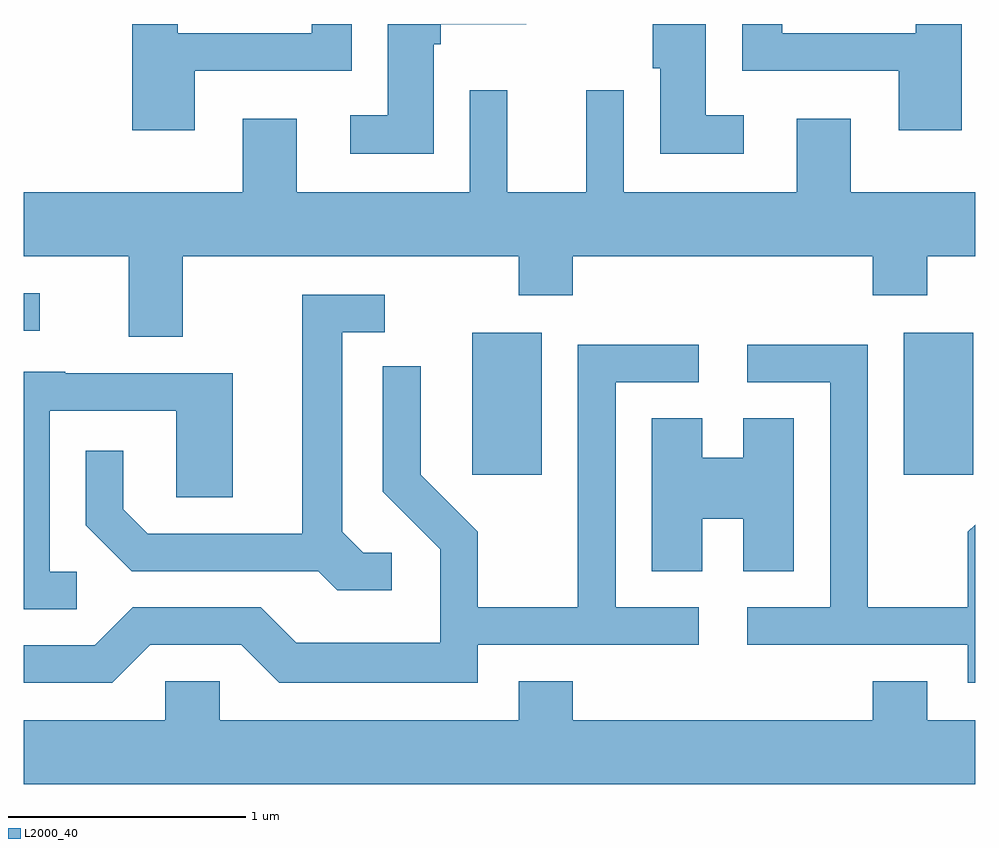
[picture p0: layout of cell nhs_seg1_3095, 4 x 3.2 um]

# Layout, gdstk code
import gdstk
lib = gdstk.Library(unit=1e-6, precision=1e-09)
def R(c, l, rs):  # rectangles x0, y0, x1, y1
    for r in rs: c.add(gdstk.rectangle(r[:2], r[2:], *l))
def P(c, l, *ps):  # polygons
    for p in ps: c.add(gdstk.Polygon(p, *l))
L2000_40 = (2000, 40)

nhs_seg1_3095 = lib.new_cell('nhs_seg1_3095')
R(nhs_seg1_3095, L2000_40, [(281.496,849.816,281.789,850.414), (283.311,849.816,283.604,850.414), (279.611,850.421,279.678,850.579)])
P(nhs_seg1_3095, L2000_40, [(281.334,851.626),(281.364,851.626),(281.364,851.711),(281.724,851.711),(281.724,851.712),(281.141,851.712),(281.141,851.329),(280.983,851.329),(280.983,851.166),(281.334,851.166)],
  [(280.329,851.516),(280.989,851.516),(280.989,851.712),(280.821,851.712),(280.821,851.674),(280.259,851.674),(280.259,851.712),(280.066,851.712),(280.066,851.266),(280.329,851.266)],
  [(283.554,851.712),(283.361,851.712),(283.361,851.674),(282.799,851.674),(282.799,851.712),(282.631,851.712),(282.631,851.516),(283.291,851.516),(283.291,851.266),(283.554,851.266)],
  [(282.638,851.329),(282.479,851.329),(282.479,851.712),(282.256,851.712),(282.256,851.526),(282.286,851.526),(282.286,851.166),(282.638,851.166)],
  [(280.279,850.736),(281.691,850.736),(281.691,850.571),(281.919,850.571),(281.919,850.736),(283.181,850.736),(283.181,850.571),(283.409,850.571),(283.409,850.736),(283.611,850.736),(283.611,851.004),(283.089,851.004),(283.089,851.314),(282.861,851.314),(282.861,851.004),(282.134,851.004),(282.134,851.433),(281.976,851.433),(281.976,851.004),(281.644,851.004),(281.644,851.433),(281.486,851.433),(281.486,851.004),(280.759,851.004),(280.759,851.314),(280.531,851.314),(280.531,851.004),(279.611,851.004),(279.611,850.736),(280.051,850.736),(280.051,850.396),(280.279,850.396)],
  [(281.158,849.489),(281.037,849.489),(280.949,849.577),(280.949,850.416),(281.128,850.416),(281.128,850.574),(280.781,850.574),(280.781,849.569),(280.132,849.569),(280.029,849.672),(280.029,849.918),(279.871,849.918),(279.871,849.604),(280.064,849.411),(280.849,849.411),(280.929,849.331),(281.158,849.331)],
  [(280.142,849.101),(280.524,849.101),(280.684,848.941),(281.519,848.941),(281.519,849.101),(282.448,849.101),(282.448,849.259),(282.099,849.259),(282.099,850.206),(282.448,850.206),(282.448,850.364),(281.941,850.364),(281.941,849.259),(281.519,849.259),(281.519,849.577),(281.279,849.817),(281.279,850.273),(281.121,850.273),(281.121,849.744),(281.361,849.504),(281.361,849.109),(280.757,849.109),(280.607,849.259),(280.069,849.259),(279.909,849.099),(279.611,849.099),(279.611,848.941),(279.982,848.941)],
  [(283.611,849.607),(283.581,849.577),(283.581,849.259),(283.159,849.259),(283.159,850.364),(282.653,850.364),(282.653,850.206),(283.001,850.206),(283.001,849.259),(282.653,849.259),(282.653,849.101),(283.581,849.101),(283.581,848.941),(283.611,848.941)],
  [(279.833,849.409),(279.719,849.409),(279.719,850.086),(280.251,850.086),(280.251,849.721),(280.489,849.721),(280.489,850.244),(279.785,850.244),(279.785,850.249),(279.611,850.249),(279.611,849.251),(279.833,849.251)],
  [(282.464,849.631),(282.636,849.631),(282.636,849.411),(282.849,849.411),(282.849,850.054),(282.636,850.054),(282.636,849.889),(282.464,849.889),(282.464,850.054),(282.251,850.054),(282.251,849.411),(282.464,849.411)],
  [(283.611,848.784),(283.409,848.784),(283.409,848.949),(283.181,848.949),(283.181,848.784),(281.919,848.784),(281.919,848.949),(281.691,848.949),(281.691,848.784),(280.434,848.784),(280.434,848.949),(280.206,848.949),(280.206,848.784),(279.611,848.784),(279.611,848.516),(283.611,848.516)])

lib.write_gds('nhs_seg1_3095.gds')
